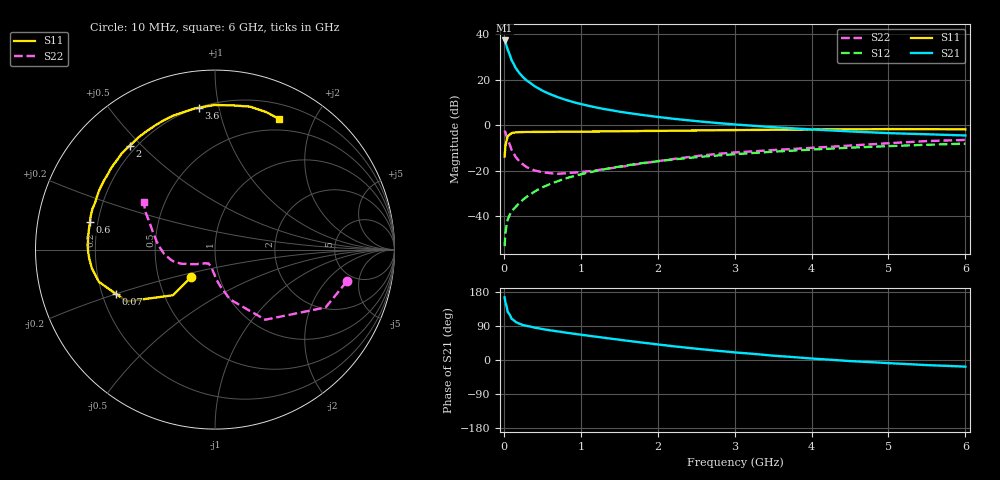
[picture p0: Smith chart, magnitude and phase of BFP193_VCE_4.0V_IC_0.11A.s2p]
! Infineon Technologies  Discrete & RF Semiconductors
! BFP193
! VCE =  4.0 V,  IC = 0.11 A
! Common Emitter S-Parameters:  Jan 2017
# GHz  S  MA  R  50
!  f  S11  S21  S12  S22
! GHz  MAG  ANG  MAG  ANG  MAG  ANG  MAG  ANG
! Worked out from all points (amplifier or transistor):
!   77 points, 10 MHz to 6 GHz, reference 50 ohm
!   highest |S21| = 37.2 dB at 10 MHz (marker M1)
!   |S21| within 3 dB of that: start of sweep to 40.21 MHz
!   unconditionally stable (mu >= 1): start of sweep to 13.16 MHz; 206.5 MHz to 2.885 GHz
!   at 130 MHz: K = 0.85, MSG = 31.7 dB, |S12| = -36.7 dB
!   at 2.2 GHz: K = 1.04, MAG = 7.7 dB, |S12| = -15.1 dB
!   at 6 GHz: K = 0.98, MSG = 1.8 dB, |S12| = -8.1 dB
!   S11 on the Smith chart (normalised r, x): 10 MHz: 0.73, -0.23; 70 MHz: 0.26, -0.20; 600 MHz: 0.17, +0.11; 2 GHz: 0.17, +0.46; 3.6 GHz: 0.20, +0.87; 6 GHz: 0.36, +1.55
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0.01  0.2043 -131.1  72.58 165.4  0.0022 71.1  0.7553 -13.6
0.02  0.3462 -132.7  67.18 152.5  0.0042 73.7  0.6956 -27.6
0.05  0.5709 -149.6  45.65 126.6  0.0084 55.8  0.4804 -54.4
0.07  0.6061 -156.1  37.75 121.6  0.0101 58.3  0.3994 -59.8
0.1  0.6715 -164.5  26.82 108.8  0.0127 60.7  0.2892 -73.3
0.15  0.6942 -171.5  18.53 100.9  0.0158 63.1  0.2047 -82.0
0.2  0.7023 -175.8  14.06 96.0  0.0194 66.5  0.1624 -88.1
0.25  0.7071 -179.0  11.34 92.3  0.0232 67.8  0.1368 -91.7
0.3  0.7087 178.5  9.472 89.8  0.0268 69.0  0.119 -95.8
0.4  0.7105 174.4  7.16 85.3  0.0347 71.2  0.1012 -101.2
0.5  0.7114 170.8  5.737 81.7  0.0429 72.3  0.0927 -106.6
0.6  0.7136 167.5  4.807 78.4  0.051 72.1  0.0884 -111.8
0.8  0.7197 161.7  3.625 72.4  0.0675 71.6  0.0878 -117.9
1.1  0.7246 153.2  2.665 64.1  0.0913 68.6  0.0974 -127.8
1.5  0.7349 142.4  1.983 53.6  0.1228 64.4  0.1201 -139.2
2  0.7489 129.4  1.517 41.0  0.1613 57.9  0.162 -149.6
2.1  0.7522 126.8  1.45 38.8  0.1686 56.5  0.1709 -151.9
3.1  0.7828 105.5  1.009 18.5  0.2362 43.4  0.2577 -168.6
3.6  0.7954 96.6  0.883 10.0  0.267 37.4  0.2901 -177.1
4.1  0.8055 88.7  0.791 2.6  0.2968 31.1  0.3249 172.9
5.1  0.8186 75.0  0.661 -9.3  0.3515 19.0  0.41 155.3
6  0.811 63.8  0.594 -17.5  0.3938 8.4  0.4748 146.1
